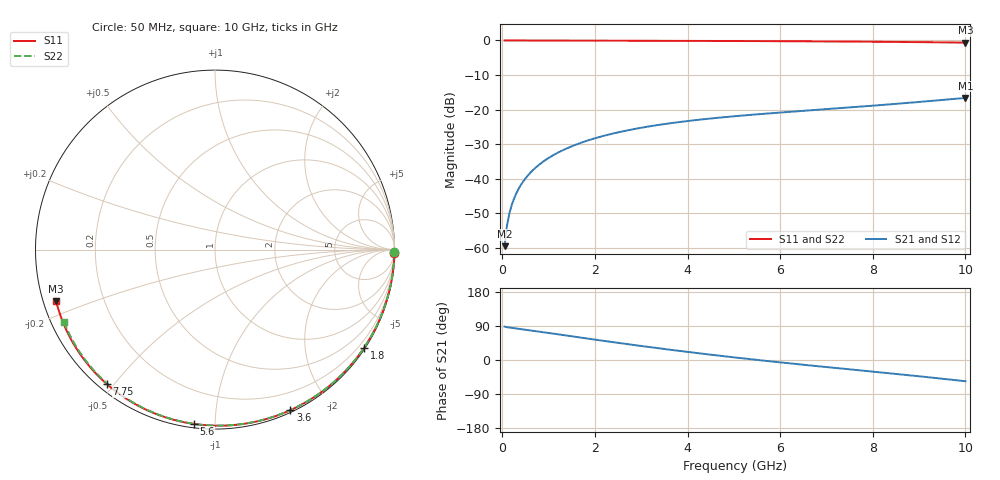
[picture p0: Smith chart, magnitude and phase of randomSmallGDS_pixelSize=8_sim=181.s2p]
! freq	dB(S11)	phase(S11)	dB(S12)	phase(S12)
!  dB(S21)	phase(S21)	dB(S22)	phase(S22)
!S-par simulation data
#  GHz  S  DB  R 50
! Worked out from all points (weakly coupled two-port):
!   200 points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, 50 MHz to 10 GHz, reference 50 ohm
!   highest |S21| = -16.62 dB at 10 GHz (marker M1); lowest = -59.5 dB at 50 MHz (marker M2)
!   lowest |S11| = -0.6 dB at 10 GHz (marker M3), VSWR 27.84, Z = 1.84 - j7.91 ohm
!   |S11| at or under -10 dB: nowhere
!   |S22| runs from -0.6 to 0.0 dB; largest |S21 - S12| = 0
!   S11 on the Smith chart (normalised r, x): 50 MHz: open; 1.8 GHz: 0.03, -3.33; 3.6 GHz: 0.02, -1.57; 5.6 GHz: 0.02, -0.89; 7.75 GHz: 0.02, -0.48; 10 GHz: 0.04, -0.16
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0.05  -0.00 -0.9  -59.51 87.8  -59.51 87.8  -0.00 -0.9
0.1  -0.00 -1.9  -53.63 86.6  -53.63 86.6  -0.00 -1.8
0.15  -0.00 -2.8  -50.20 85.7  -50.20 85.7  -0.00 -2.7
0.2  -0.00 -3.8  -47.76 85.0  -47.76 85.0  -0.00 -3.6
0.35  -0.01 -6.6  -42.98 82.7  -42.98 82.7  -0.00 -6.3
0.5  -0.01 -9.4  -39.91 80.2  -39.91 80.2  -0.01 -9.0
0.7  -0.02 -13.2  -37.03 76.7  -37.03 76.7  -0.01 -12.6
1  -0.02 -18.8  -33.99 71.3  -33.99 71.3  -0.02 -17.9
1.35  -0.03 -25.2  -31.48 65.1  -31.48 65.1  -0.03 -24.1
1.75  -0.05 -32.5  -29.36 58.1  -29.36 58.1  -0.04 -31.1
1.8  -0.05 -33.4  -29.13 57.2  -29.13 57.2  -0.05 -31.9
2.6  -0.07 -47.7  -26.29 43.6  -26.29 43.6  -0.07 -45.6
3.4  -0.10 -61.5  -24.38 30.6  -24.38 30.6  -0.09 -58.9
3.6  -0.10 -64.9  -24.00 27.5  -24.00 27.5  -0.10 -62.1
4.3  -0.13 -76.4  -22.85 16.9  -22.85 16.9  -0.12 -73.2
5.05  -0.16 -88.4  -21.88 6.3  -21.88 6.3  -0.15 -84.7
5.6  -0.19 -96.9  -21.27 -1.1  -21.27 -1.1  -0.18 -92.9
6.7  -0.26 -113.5  -20.16 -15.0  -20.16 -15.0  -0.25 -108.7
7.75  -0.34 -128.8  -19.13 -27.7  -19.13 -27.7  -0.33 -123.4
8.35  -0.40 -137.5  -18.50 -34.9  -18.50 -34.9  -0.39 -131.7
9.2  -0.51 -150.0  -17.57 -45.5  -17.57 -45.5  -0.49 -143.4
10  -0.62 -162.0  -16.62 -56.0  -16.62 -56.0  -0.60 -154.6
